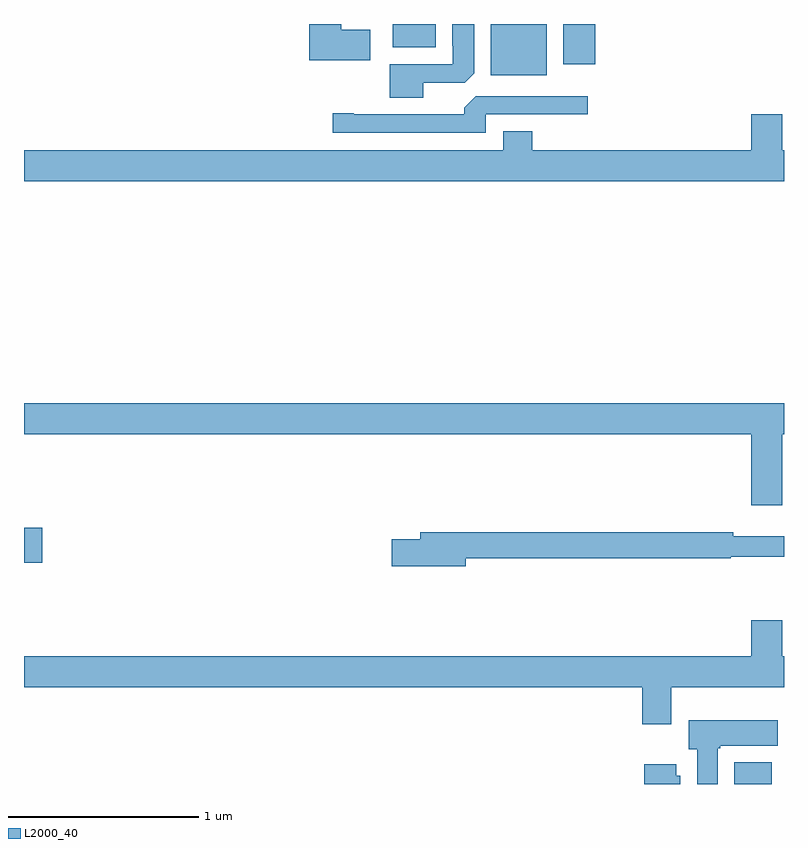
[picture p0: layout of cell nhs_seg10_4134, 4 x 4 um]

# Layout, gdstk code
import gdstk
lib = gdstk.Library(unit=1e-6, precision=1e-09)
def R(c, l, rs):  # rectangles x0, y0, x1, y1
    for r in rs: c.add(gdstk.rectangle(r[:2], r[2:], *l))
def P(c, l, *ps):  # polygons
    for p in ps: c.add(gdstk.Polygon(p, *l))
L2000_40 = (2000, 40)

nhs_seg10_4134 = lib.new_cell('nhs_seg10_4134')
R(nhs_seg10_4134, L2000_40, [(344.738,1274.5,344.935,1274.614), (341,1275.665,341.095,1275.848), (343.457,1278.23,343.75,1278.5), (343.838,1278.288,344.006,1278.5), (342.941,1278.377,343.168,1278.5)])
P(nhs_seg10_4134, L2000_40, [(342.823,1278.471),(342.67,1278.471),(342.67,1278.5),(342.5,1278.5),(342.5,1278.308),(342.823,1278.308)],
  [(343.102,1278.192),(343.32,1278.192),(343.369,1278.241),(343.369,1278.5),(343.253,1278.5),(343.253,1278.385),(343.257,1278.385),(343.257,1278.288),(342.926,1278.288),(342.926,1278.113),(343.102,1278.113)],
  [(343.431,1278.024),(343.966,1278.024),(343.966,1278.12),(343.377,1278.12),(343.316,1278.058),(343.316,1278.024),(342.736,1278.024),(342.736,1278.029),(342.624,1278.029),(342.624,1277.928),(343.431,1277.928)],
  [(345,1277.836),(344.992,1277.836),(344.992,1278.025),(344.828,1278.025),(344.828,1277.836),(343.676,1277.836),(343.676,1277.935),(343.523,1277.935),(343.523,1277.836),(341,1277.836),(341,1277.672),(345,1277.672)],
  [(344.992,1276.34),(345,1276.34),(345,1276.504),(341,1276.504),(341,1276.34),(344.828,1276.34),(344.828,1275.966),(344.992,1275.966)],
  [(343.324,1275.688),(344.72,1275.688),(344.72,1275.696),(345,1275.696),(345,1275.805),(344.732,1275.805),(344.732,1275.824),(343.085,1275.824),(343.085,1275.788),(342.936,1275.788),(342.936,1275.646),(343.324,1275.646)],
  [(344.407,1275.008),(345,1275.008),(345,1275.172),(344.992,1275.172),(344.992,1275.361),(344.828,1275.361),(344.828,1275.172),(341,1275.172),(341,1275.008),(344.255,1275.008),(344.255,1274.814),(344.407,1274.814)],
  [(344.65,1274.689),(344.664,1274.689),(344.664,1274.702),(344.968,1274.702),(344.968,1274.836),(344.498,1274.836),(344.498,1274.682),(344.543,1274.682),(344.543,1274.5),(344.65,1274.5)],
  [(344.455,1274.544),(344.434,1274.544),(344.434,1274.605),(344.264,1274.605),(344.264,1274.5),(344.455,1274.5)])

lib.write_gds('nhs_seg10_4134.gds')
